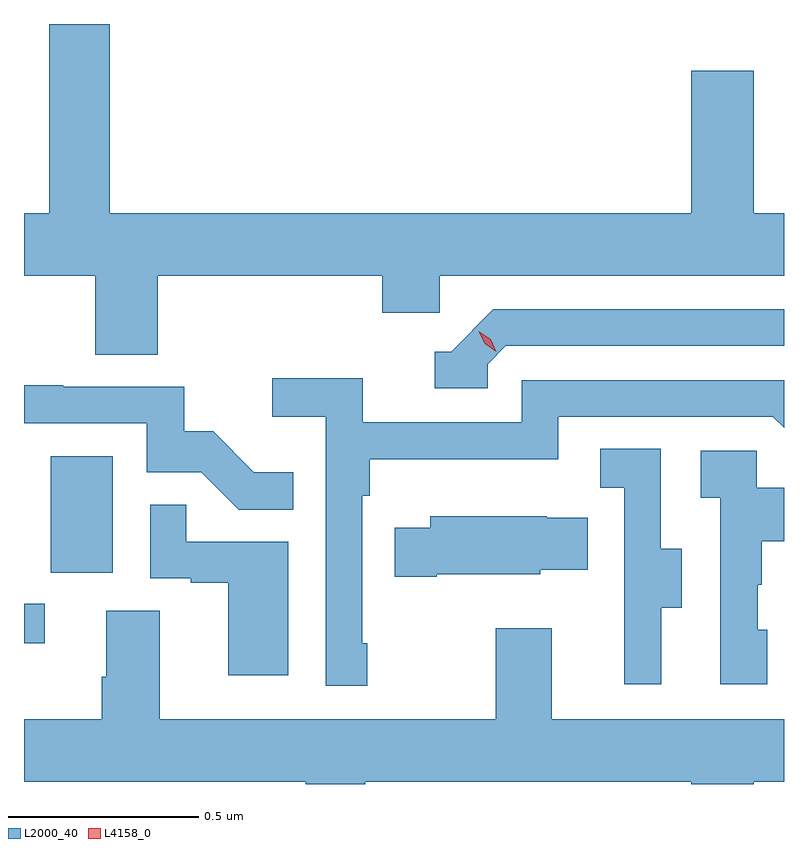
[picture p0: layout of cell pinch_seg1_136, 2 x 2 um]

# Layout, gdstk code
import gdstk
lib = gdstk.Library(unit=1e-6, precision=1e-09)
def R(c, l, rs):  # rectangles x0, y0, x1, y1
    for r in rs: c.add(gdstk.rectangle(r[:2], r[2:], *l))
def P(c, l, *ps):  # polygons
    for p in ps: c.add(gdstk.Polygon(p, *l))
L2000_40 = (2000, 40)
L4158_0 = (4158, 0)

pinch_seg1_136 = lib.new_cell('pinch_seg1_136')
R(pinch_seg1_136, L2000_40, [(1026.388,553.428,1026.442,553.533), (1026.458,553.614,1026.622,553.921)])
P(pinch_seg1_136, L2000_40, [(1026.74,554.396),(1027.331,554.396),(1027.331,554.298),(1027.482,554.298),(1027.482,554.396),(1028.388,554.396),(1028.388,554.56),(1028.308,554.56),(1028.308,554.935),(1028.144,554.935),(1028.144,554.56),(1026.614,554.56),(1026.614,555.058),(1026.454,555.058),(1026.454,554.56),(1026.388,554.56),(1026.388,554.396),(1026.575,554.396),(1026.575,554.188),(1026.74,554.188)],
  [(1027.608,554.163),(1027.656,554.211),(1028.388,554.211),(1028.388,554.307),(1027.623,554.307),(1027.512,554.196),(1027.469,554.196),(1027.469,554.1),(1027.608,554.1)],
  [(1027.291,553.429),(1027.278,553.429),(1027.278,553.817),(1027.298,553.817),(1027.298,553.913),(1027.794,553.913),(1027.794,554.025),(1028.358,554.025),(1028.388,553.995),(1028.388,554.121),(1027.698,554.121),(1027.698,554.01),(1027.28,554.01),(1027.28,554.126),(1027.041,554.126),(1027.041,554.024),(1027.182,554.024),(1027.182,553.317),(1027.291,553.317)],
  [(1027.097,553.879),(1026.993,553.879),(1026.886,553.986),(1026.81,553.986),(1026.81,554.103),(1026.491,554.103),(1026.491,554.108),(1026.388,554.108),(1026.388,554.007),(1026.711,554.007),(1026.711,553.878),(1026.855,553.878),(1026.953,553.78),(1027.097,553.78)],
  [(1028.065,553.522),(1028.119,553.522),(1028.119,553.677),(1028.064,553.677),(1028.064,553.94),(1027.905,553.94),(1027.905,553.837),(1027.968,553.837),(1027.968,553.533),(1027.967,553.533),(1027.967,553.32),(1028.065,553.32)],
  [(1028.344,553.464),(1028.319,553.464),(1028.319,553.583),(1028.329,553.583),(1028.329,553.697),(1028.388,553.697),(1028.388,553.837),(1028.316,553.837),(1028.316,553.935),(1028.169,553.935),(1028.169,553.811),(1028.22,553.811),(1028.22,553.32),(1028.344,553.32)],
  [(1027.084,553.695),(1026.815,553.695),(1026.815,553.793),(1026.72,553.793),(1026.72,553.599),(1026.827,553.599),(1026.827,553.587),(1026.926,553.587),(1026.926,553.344),(1027.084,553.344)],
  [(1027.474,553.61),(1027.746,553.61),(1027.746,553.622),(1027.871,553.622),(1027.871,553.759),(1027.763,553.759),(1027.763,553.762),(1027.457,553.762),(1027.457,553.732),(1027.363,553.732),(1027.363,553.603),(1027.474,553.603)],
  [(1026.745,553.514),(1026.605,553.514),(1026.605,553.34),(1026.593,553.34),(1026.593,553.228),(1026.388,553.228),(1026.388,553.064),(1027.129,553.064),(1027.129,553.058),(1027.286,553.058),(1027.286,553.064),(1028.144,553.064),(1028.144,553.058),(1028.308,553.058),(1028.308,553.064),(1028.388,553.064),(1028.388,553.228),(1027.777,553.228),(1027.777,553.468),(1027.63,553.468),(1027.63,553.228),(1026.745,553.228)])
P(pinch_seg1_136, L4158_0, [(1027.631,554.196),(1027.6,554.216),(1027.585,554.249),(1027.585,554.249),(1027.585,554.249),(1027.616,554.229),(1027.631,554.196),(1027.631,554.196)])

lib.write_gds('pinch_seg1_136.gds')
